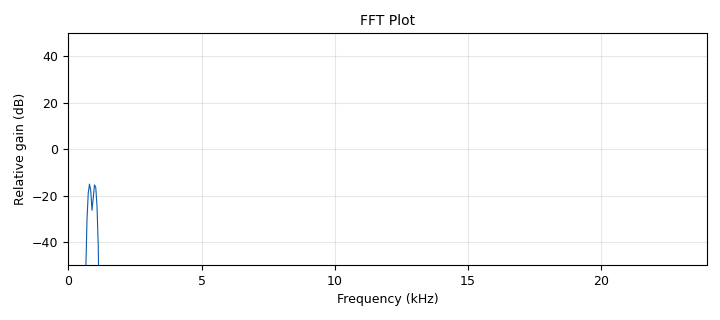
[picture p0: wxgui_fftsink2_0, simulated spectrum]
<?xml version='1.0' encoding='utf-8'?>
<flow_graph>
<block>
<key>options</key>
<param><key>id</key><value>top_block</value></param>
<param><key>generate_options</key><value>wx_gui</value></param>
<param><key>category</key><value>Custom</value></param>
</block>
<block>
<key>notebook</key>
<param><key>id</key><value>notebook_0</value></param>
<param><key>style</key><value>wx.NB_TOP</value></param>
<param><key>labels</key><value>['tab1', 'tab2', 'tab3', 'tab4', 'tab5']</value></param>
</block>
<block>
<key>variable</key>
<param><key>id</key><value>samp_rate</value></param>
<param><key>value</key><value>48000</value></param>
</block>
<block>
<key>variable_slider</key>
<param><key>id</key><value>freq2</value></param>
<param><key>label</key><value></value></param>
<param><key>value</key><value>800</value></param>
<param><key>min</key><value>10</value></param>
<param><key>max</key><value>2000</value></param>
<param><key>num_steps</key><value>100</value></param>
<param><key>style</key><value>wx.SL_HORIZONTAL</value></param>
<param><key>converver</key><value>float_converter</value></param>
</block>
<block>
<key>gr_throttle</key>
<param><key>id</key><value>gr_throttle_0</value></param>
<param><key>type</key><value>float</value></param>
<param><key>samples_per_second</key><value>samp_rate</value></param>
<param><key>vlen</key><value>1</value></param>
</block>
<block>
<key>audio_sink</key>
<param><key>id</key><value>audio_sink_0</value></param>
<param><key>samp_rate</key><value>samp_rate</value></param>
</block>
<block>
<key>gr_add_xx</key>
<param><key>id</key><value>gr_add_xx_0</value></param>
<param><key>type</key><value>float</value></param>
<param><key>num_inputs</key><value>2</value></param>
<param><key>vlen</key><value>1</value></param>
</block>
<block>
<key>wxgui_fftsink2</key>
<param><key>id</key><value>wxgui_fftsink2_0</value></param>
<param><key>type</key><value>float</value></param>
<param><key>title</key><value>FFT Plot</value></param>
<param><key>samp_rate</key><value>samp_rate</value></param>
<param><key>baseband_freq</key><value>0</value></param>
<param><key>y_per_div</key><value>10</value></param>
<param><key>y_divs</key><value>10</value></param>
<param><key>ref_level</key><value>50</value></param>
<param><key>ref_scale</key><value>2.0</value></param>
<param><key>fft_size</key><value>1024</value></param>
<param><key>fft_rate</key><value>15</value></param>
<param><key>peak_hold</key><value>False</value></param>
<param><key>average</key><value>False</value></param>
<param><key>avg_alpha</key><value>0</value></param>
<param><key>win</key><value>None</value></param>
<param><key>notebook</key><value>notebook_0,0</value></param>
<param><key>freqvar</key><value>None</value></param>
</block>
<block>
<key>variable_text_box</key>
<param><key>id</key><value>level2</value></param>
<param><key>label</key><value></value></param>
<param><key>value</key><value>0.5</value></param>
<param><key>converver</key><value>float_converter</value></param>
<param><key>formatter</key><value>None</value></param>
</block>
<block>
<key>gr_sig_source_x</key>
<param><key>id</key><value>gr_sig_source_x_1</value></param>
<param><key>type</key><value>float</value></param>
<param><key>samp_rate</key><value>samp_rate</value></param>
<param><key>waveform</key><value>gr.GR_COS_WAVE</value></param>
<param><key>freq</key><value>freq2</value></param>
<param><key>amp</key><value>level2</value></param>
<param><key>offset</key><value>0</value></param>
</block>
<block>
<key>variable_chooser</key>
<param><key>id</key><value>freq1</value></param>
<param><key>label</key><value></value></param>
<param><key>value</key><value>1000</value></param>
<param><key>choices</key><value>[500, 1000, 1500]</value></param>
<param><key>labels</key><value>[]</value></param>
<param><key>type</key><value>radio_buttons</value></param>
<param><key>style</key><value>wx.RA_HORIZONTAL</value></param>
</block>
<block>
<key>gr_sig_source_x</key>
<param><key>id</key><value>gr_sig_source_x_0</value></param>
<param><key>type</key><value>float</value></param>
<param><key>samp_rate</key><value>samp_rate</value></param>
<param><key>waveform</key><value>gr.GR_COS_WAVE</value></param>
<param><key>freq</key><value>freq1</value></param>
<param><key>amp</key><value>0.5</value></param>
<param><key>offset</key><value>0</value></param>
</block>
<connection><source_block_id>gr_throttle_0</source_block_id><sink_block_id>wxgui_fftsink2_0</sink_block_id><source_key>0</source_key><sink_key>0</sink_key></connection>
<connection><source_block_id>gr_add_xx_0</source_block_id><sink_block_id>gr_throttle_0</sink_block_id><source_key>0</source_key><sink_key>0</sink_key></connection>
<connection><source_block_id>gr_throttle_0</source_block_id><sink_block_id>audio_sink_0</sink_block_id><source_key>0</source_key><sink_key>0</sink_key></connection>
<connection><source_block_id>gr_sig_source_x_0</source_block_id><sink_block_id>gr_add_xx_0</sink_block_id><source_key>0</source_key><sink_key>0</sink_key></connection>
<connection><source_block_id>gr_sig_source_x_1</source_block_id><sink_block_id>gr_add_xx_0</sink_block_id><source_key>0</source_key><sink_key>1</sink_key></connection>
</flow_graph>
